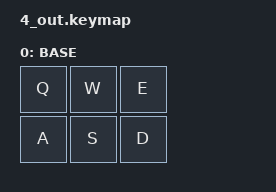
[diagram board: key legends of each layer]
/ {
    combos {
        compatible = "zmk,combos";

        // BEGIN combos
        raw_combo {
            bindings = <&kp A>;
            key-positions = <0 1>;
        };

        diag_base_0_0 {
            bindings = <&kp Q>;
            key-positions = <0 4>;
            layers = <0>;
        };

        diag_base_0_1 {
            bindings = <&kp W>;
            key-positions = <1 5>;
            layers = <0>;
        };
        // END combos
    };

    keymap {
        compatible = "zmk,keymap";

        // BEGIN keymap
        BASE {
            display-name = "BASE";
            bindings = <
&kp Q &kp W &kp E
&kp A &kp S &kp D
            >;
        };
        // END keymap
    };
};

